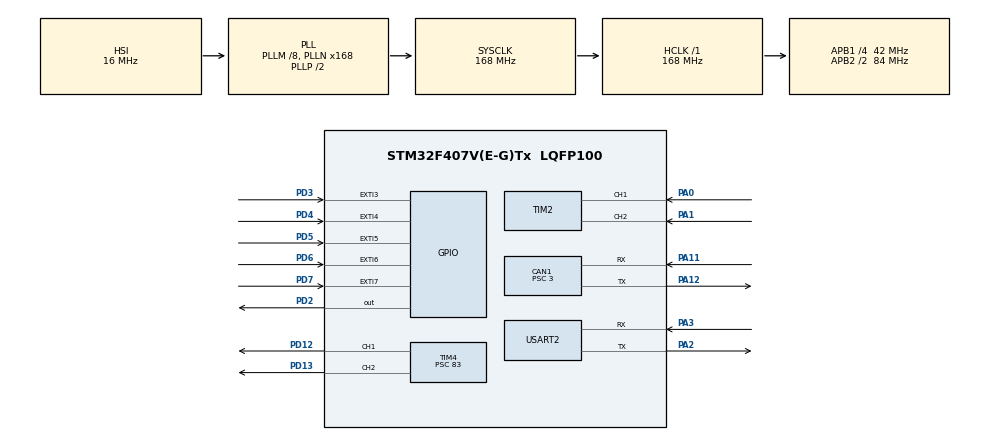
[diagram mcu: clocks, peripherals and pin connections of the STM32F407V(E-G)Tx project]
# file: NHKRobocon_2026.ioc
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CAN1.BS1=CAN_BS1_9TQ
CAN1.BS2=CAN_BS2_4TQ
CAN1.CalculateBaudRate=1000000
CAN1.CalculateTimeBit=1000
CAN1.CalculateTimeQuantum=71.42857142857143
CAN1.Prescaler=3
Mcu.Family=STM32F4
Mcu.Name=STM32F407V(E-G)Tx
Mcu.Package=LQFP100
NVIC.CAN1_RX0_IRQn=true\:2\:0\:true\:false\:true\:true\:true\:true
NVIC.EXTI3_IRQn=true\:0\:0\:true\:false\:true\:true\:true\:true
NVIC.EXTI4_IRQn=true\:0\:0\:true\:false\:true\:true\:true\:true
NVIC.EXTI9_5_IRQn=true\:0\:0\:true\:false\:true\:true\:true\:true
NVIC.PriorityGroup=NVIC_PRIORITYGROUP_4
NVIC.TIM3_IRQn=true\:3\:0\:true\:false\:true\:true\:true\:true
NVIC.USART2_IRQn=true\:1\:0\:true\:false\:true\:true\:true\:true
PA0-WKUP.Signal=S_TIM2_CH1_ETR
PA1.Signal=S_TIM2_CH2
PA11.Mode=CAN_Activate
PA11.Signal=CAN1_RX
PA12.Mode=CAN_Activate
PA12.Signal=CAN1_TX
PA13.Signal=SYS_JTMS-SWDIO
PA14.Signal=SYS_JTCK-SWCLK
PA2.Mode=Asynchronous
PA2.Signal=USART2_TX
PA3.Mode=Asynchronous
PA3.Signal=USART2_RX
PD12.Signal=S_TIM4_CH1
PD13.Signal=S_TIM4_CH2
PD2.Signal=GPIO_Output
PD3.GPIO_ModeDefaultEXTI=GPIO_MODE_IT_FALLING
PD3.GPIO_PuPd=GPIO_PULLUP
PD3.Signal=GPXTI3
PD4.GPIO_ModeDefaultEXTI=GPIO_MODE_IT_RISING
PD4.GPIO_PuPd=GPIO_PULLUP
PD4.Signal=GPXTI4
PD5.GPIO_PuPd=GPIO_PULLUP
PD5.Signal=GPXTI5
PD6.GPIO_PuPd=GPIO_PULLUP
PD6.Signal=GPXTI6
PD7.GPIO_PuPd=GPIO_PULLUP
PD7.Signal=GPXTI7
ProjectManager.HeapSize=0x200
ProjectManager.StackSize=0x400
ProjectManager.TargetToolchain=STM32CubeIDE
RCC.48MHZClocksFreq_Value=84000000
RCC.AHBFreq_Value=168000000
RCC.APB1CLKDivider=RCC_HCLK_DIV4
RCC.APB1Freq_Value=42000000
RCC.APB1TimFreq_Value=84000000
RCC.APB2CLKDivider=RCC_HCLK_DIV2
RCC.APB2Freq_Value=84000000
RCC.APB2TimFreq_Value=168000000
RCC.CortexFreq_Value=168000000
RCC.HCLKFreq_Value=168000000
RCC.HSE_VALUE=25000000
RCC.HSI_VALUE=16000000
RCC.LSE_VALUE=32768
RCC.PLLM=8
RCC.PLLN=168
RCC.SYSCLKFreq_VALUE=168000000
RCC.SYSCLKSource=RCC_SYSCLKSOURCE_PLLCLK
RCC.VCOOutputFreq_Value=336000000
SH.S_TIM2_CH1_ETR.0=TIM2_CH1,Encoder_Interface
SH.S_TIM2_CH2.0=TIM2_CH2,Encoder_Interface
SH.S_TIM4_CH1.0=TIM4_CH1,PWM Generation1 CH1
SH.S_TIM4_CH2.0=TIM4_CH2,PWM Generation2 CH2
TIM2.EncoderMode=TIM_ENCODERMODE_TI12
TIM3.Period=999
TIM3.Prescaler=83
TIM4.Channel-PWM\ Generation1\ CH1=TIM_CHANNEL_1
TIM4.Channel-PWM\ Generation2\ CH2=TIM_CHANNEL_2
TIM4.Period=19999
TIM4.Prescaler=83
USART2.VirtualMode=VM_ASYNC
VP_TIM3_VS_ClockSourceINT.Mode=Internal
board=custom

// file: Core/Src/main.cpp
/* USER CODE BEGIN Header */
/**
  ******************************************************************************
  * @file           : main.c
  * @brief          : Main program body
  ******************************************************************************
  * @attention
  *
  * Copyright (c) 2026 STMicroelectronics.
  * All rights reserved.
  *
  * This software is licensed under terms that can be found in the LICENSE file
  * in the root directory of this software component.
  * If no LICENSE file comes with this software, it is provided AS-IS.
  *
  ******************************************************************************
  */
/* USER CODE END Header */
#include "main.h"

/* USER CODE BEGIN Includes */
#include <m2006manager.h>
#include <m2006.h>
#include <MD4ch_child.h>
#include <MD4ch.h>
#include <PositionPIDController.h>
#include <PositionPIDTuner.h>
#include <SpeedPIDController.h>
#include <SpeedPIDTuner.h>
#include <RotaryEncoder.h>
#include <ESC.h>
#include <Servo.h>
#include <RotaryEncoder.h>

#include <Manager.h>
#include <Steering.h>
#include <Shooter.h>
/* USER CODE END Includes */

CAN_HandleTypeDef hcan1;

TIM_HandleTypeDef htim2;
TIM_HandleTypeDef htim3;
TIM_HandleTypeDef htim4;

UART_HandleTypeDef huart2;

/* USER CODE BEGIN PV */
volatile bool flag = false;
volatile int32_t ms_counter = 0;
uint8_t uartRxbyte = 0;
volatile uint16_t setZeroPin = 0;
m2006_manager* m2006_address;
Manager* maanger_address;
Steering* steering_address;
Shooter* shooter_address;
volatile int32_t intrrupt_count = 0;
/* USER CODE END PV */

void SystemClock_Config(void);
static void MX_GPIO_Init(void);
static void MX_CAN1_Init(void);
static void MX_TIM3_Init(void);
static void MX_TIM4_Init(void);
static void MX_TIM2_Init(void);
static void MX_USART2_UART_Init(void);

/* USER CODE BEGIN 0 */
extern "C" int main(void);
/* USER CODE END 0 */

int main(void)
{

  /* MCU Configuration--------------------------------------------------------*/

  /* Reset of all peripherals, Initializes the Flash interface and the Systick. */
  HAL_Init();

  /* Configure the system clock */
  SystemClock_Config();

  /* Initialize all configured peripherals */
  MX_GPIO_Init();
  MX_CAN1_Init();
  MX_TIM3_Init();
  MX_TIM4_Init();
  MX_TIM2_Init();
  MX_USART2_UART_Init();
  /* USER CODE BEGIN 2 */

  //ステアリング*******************************************************************************
    static std::vector<MD4ch_child*> steer_drives;
    static std::vector<m2006*> m2006s;
    static std::array<UnitSteering*, 4> units;

  	//FL
    static MD4ch_child driveFL;
  	steer_drives.push_back(&driveFL);
  	static m2006 steerFL;
  	m2006s.push_back(&steerFL);
  	static SpeedPIDController str_speedFL(&steerFL, &steerFL);
  	static PositionPIDController str_positionFL(&str_speedFL);
  	static UnitSteering UnitFL(&driveFL, &str_positionFL);
  	units[0] = &UnitFL;
  	//FR
  	static MD4ch_child driveFR;
  	steer_drives.push_back(&driveFR);
  	static m2006 steerFR;
  	m2006s.push_back(&steerFR);
  	static SpeedPIDController str_speedFR(&steerFR, &steerFR);
  	static PositionPIDController str_positionFR(&str_speedFR);
  	static UnitSteering UnitFR(&driveFR, &str_positionFR);
  	units[1] = &UnitFR;
  	//BL
  	static MD4ch_child driveBL;
  	steer_drives.push_back(&driveBL);
  	static m2006 steerBL;
  	m2006s.push_back(&steerBL);
  	static SpeedPIDController str_speedBL(&steerBL, &steerBL);
  	static PositionPIDController str_positionBL(&str_speedBL);
  	static UnitSteering UnitBL(&driveBL, &str_positionBL);
  	units[2] = &UnitBL;
  	//BR
  	static MD4ch_child driveBR;
  	steer_drives.push_back(&driveBR);
  	static m2006 steerBR;
  	m2006s.push_back(&steerBR);
  	static SpeedPIDController str_speedBR(&steerBR, &steerBR);
  	static PositionPIDController str_positionBR(&str_speedBR);
  	static UnitSteering UnitBR(&driveBR, &str_positionBR);
  	units[3] = &UnitBR;

  	static std::array<uint16_t, 4> interrupts = { GPIO_PIN_4, GPIO_PIN_5, GPIO_PIN_6, GPIO_PIN_7 };
  	static Steering steering(&units, &interrupts);
  	steering.init();
  	steering_address = &steering;
  //ステアリング終了*******************************************************************************

  //射出**************************************************************************************
  	static MD4ch_child ShooterMotor735;
  	static MD4ch_child ShooterMotor385;
  	static MD4ch_child dummy1;
  	static MD4ch_child flagMotor;
  	dummy1.setMode(Mode::STOP);
  	flagMotor.setMode(Mode::OPENLOOP);
  	static Servo ShooterServo(&htim4, TIM_CHANNEL_2);
  	GPIOPIN led = {
  			.port = GPIOD,
			.pin = GPIO_PIN_2
  	};
  	static Shooter shooter(&ShooterMotor735, &ShooterMotor385, &ShooterServo, &steering, led);
  	shooter_address = &shooter;
  	shooter.init();
  //射出終了***********************************************************************************

  //装填**************************************************************************************
  	static Loader loader; //まだ不適切
  //装填終了***********************************************************************************

  //オドメトリ************************************************************************************
  	static Odometry odometry(nullptr, nullptr); //今は使わない、使うときはRotaryEncoderを入れよう
  //オドメトリ終了*********************************************************************************

  //マネージャー**********************************************************************************
  	static Manager manager(nullptr, nullptr, &shooter, &steering, &huart2);
  	maanger_address = &manager;
  //マネージャー終了*******************************************************************************

  //送信関連***********************************************************************************
  	std::vector<MD4ch_child*> motors2 = { &ShooterMotor735, &ShooterMotor385, &flagMotor, &dummy1 };
  	static m2006_manager m2006manager(&m2006s, &hcan1);
  	m2006_address = &m2006manager;
  	static MD_4ch MD4ch1(&hcan1, &steer_drives, 0x302);
  	static MD_4ch MD4ch2(&hcan1, &motors2, 0x301);
  //送信関連終了********************************************************************************

  flagMotor.setOut(20);

  //CAN設定、フィルター
  CAN_FilterTypeDef filter;
  filter.FilterIdHigh         = 0;
  filter.FilterIdLow          = 0;
  filter.FilterMaskIdHigh     = 0;
  filter.FilterMaskIdLow      = 0;
  filter.FilterFIFOAssignment = CAN_FILTER_FIFO0;
  filter.FilterBank           = 0;
  filter.FilterMode           = CAN_FILTERMODE_IDMASK;
  filter.FilterScale          = CAN_FILTERSCALE_32BIT;
  filter.FilterActivation     = CAN_FILTER_ENABLE;
  HAL_CAN_ConfigFilter(&hcan1, &filter);

  HAL_CAN_Start(&hcan1); //CANスタート
  HAL_CAN_ActivateNotification(&hcan1, CAN_IT_RX_FIFO0_MSG_PENDING); //CAN割り込み有効化
  //ESC及びサーボをデバッグで回す際、割り込みは無効に
  HAL_TIM_Base_Start_IT(&htim3); //タイマー割り込み有効化
  HAL_UART_Receive_IT(&huart2, &uartRxbyte, 1); //UARTの割り込み
  /* USER CODE END 2 */

  /* Infinite loop */
  while (1)
  {

    /* USER CODE BEGIN 3 */
	  if (flag){
		  if (ms_counter % 5 == 0) {
		 	  steering.updateSpeed();
		 	  MD4ch1.send();
		 	  MD4ch2.send();
		  }
		  if (ms_counter % 10 == 0) {
			  steering.updatePosition();
		  }
		  if (ms_counter % 99 == 0) {
			  ProcessStatus status = steering.setZeroupdate();
			  if (status == ProcessStatus::FAILED) {
				  manager.sendSetzero(false);
			  }
		  }
		  if (ms_counter % 100 == 0) {
			  manager.sendSteeringAngle();
		  }
		  m2006manager.sendtoCAN();
		  flag = false;
	  }
  }
  /* USER CODE END 3 */
}

void SystemClock_Config(void)
{
  RCC_OscInitTypeDef RCC_OscInitStruct = {0};
  RCC_ClkInitTypeDef RCC_ClkInitStruct = {0};

  /** Configure the main internal regulator output voltage
  */
  __HAL_RCC_PWR_CLK_ENABLE();
  __HAL_PWR_VOLTAGESCALING_CONFIG(PWR_REGULATOR_VOLTAGE_SCALE1);

  /** Initializes the RCC Oscillators according to the specified parameters
  * in the RCC_OscInitTypeDef structure.
  */
  RCC_OscInitStruct.OscillatorType = RCC_OSCILLATORTYPE_HSI;
  RCC_OscInitStruct.HSIState = RCC_HSI_ON;
  RCC_OscInitStruct.HSICalibrationValue = RCC_HSICALIBRATION_DEFAULT;
  RCC_OscInitStruct.PLL.PLLState = RCC_PLL_ON;
  RCC_OscInitStruct.PLL.PLLSource = RCC_PLLSOURCE_HSI;
  RCC_OscInitStruct.PLL.PLLM = 8;
  RCC_OscInitStruct.PLL.PLLN = 168;
  RCC_OscInitStruct.PLL.PLLP = RCC_PLLP_DIV2;
  RCC_OscInitStruct.PLL.PLLQ = 4;
  if (HAL_RCC_OscConfig(&RCC_OscInitStruct) != HAL_OK)
  {
    Error_Handler();
  }

  /** Initializes the CPU, AHB and APB buses clocks
  */
  RCC_ClkInitStruct.ClockType = RCC_CLOCKTYPE_HCLK|RCC_CLOCKTYPE_SYSCLK
                              |RCC_CLOCKTYPE_PCLK1|RCC_CLOCKTYPE_PCLK2;
  RCC_ClkInitStruct.SYSCLKSource = RCC_SYSCLKSOURCE_PLLCLK;
  RCC_ClkInitStruct.AHBCLKDivider = RCC_SYSCLK_DIV1;
  RCC_ClkInitStruct.APB1CLKDivider = RCC_HCLK_DIV4;
  RCC_ClkInitStruct.APB2CLKDivider = RCC_HCLK_DIV2;

  if (HAL_RCC_ClockConfig(&RCC_ClkInitStruct, FLASH_LATENCY_5) != HAL_OK)
  {
    Error_Handler();
  }
}

static void MX_CAN1_Init(void)
{

  hcan1.Instance = CAN1;
  hcan1.Init.Prescaler = 3;
  hcan1.Init.Mode = CAN_MODE_NORMAL;
  hcan1.Init.SyncJumpWidth = CAN_SJW_1TQ;
  hcan1.Init.TimeSeg1 = CAN_BS1_9TQ;
  hcan1.Init.TimeSeg2 = CAN_BS2_4TQ;
  hcan1.Init.TimeTriggeredMode = DISABLE;
  hcan1.Init.AutoBusOff = DISABLE;
  hcan1.Init.AutoWakeUp = DISABLE;
  hcan1.Init.AutoRetransmission = DISABLE;
  hcan1.Init.ReceiveFifoLocked = DISABLE;
  hcan1.Init.TransmitFifoPriority = DISABLE;
  if (HAL_CAN_Init(&hcan1) != HAL_OK)
  {
    Error_Handler();
  }

}

static void MX_TIM2_Init(void)
{

  TIM_Encoder_InitTypeDef sConfig = {0};
  TIM_MasterConfigTypeDef sMasterConfig = {0};

  htim2.Instance = TIM2;
  htim2.Init.Prescaler = 0;
  htim2.Init.CounterMode = TIM_COUNTERMODE_UP;
  htim2.Init.Period = 4294967295;
  htim2.Init.ClockDivision = TIM_CLOCKDIVISION_DIV1;
  htim2.Init.AutoReloadPreload = TIM_AUTORELOAD_PRELOAD_DISABLE;
  sConfig.EncoderMode = TIM_ENCODERMODE_TI12;
  sConfig.IC1Polarity = TIM_ICPOLARITY_RISING;
  sConfig.IC1Selection = TIM_ICSELECTION_DIRECTTI;
  sConfig.IC1Prescaler = TIM_ICPSC_DIV1;
  sConfig.IC1Filter = 0;
  sConfig.IC2Polarity = TIM_ICPOLARITY_RISING;
  sConfig.IC2Selection = TIM_ICSELECTION_DIRECTTI;
  sConfig.IC2Prescaler = TIM_ICPSC_DIV1;
  sConfig.IC2Filter = 0;
  if (HAL_TIM_Encoder_Init(&htim2, &sConfig) != HAL_OK)
  {
    Error_Handler();
  }
  sMasterConfig.MasterOutputTrigger = TIM_TRGO_RESET;
  sMasterConfig.MasterSlaveMode = TIM_MASTERSLAVEMODE_DISABLE;
  if (HAL_TIMEx_MasterConfigSynchronization(&htim2, &sMasterConfig) != HAL_OK)
  {
    Error_Handler();
  }

}

static void MX_TIM3_Init(void)
{

  TIM_ClockConfigTypeDef sClockSourceConfig = {0};
  TIM_MasterConfigTypeDef sMasterConfig = {0};

  htim3.Instance = TIM3;
  htim3.Init.Prescaler = 83;
  htim3.Init.CounterMode = TIM_COUNTERMODE_UP;
  htim3.Init.Period = 999;
  htim3.Init.ClockDivision = TIM_CLOCKDIVISION_DIV1;
  htim3.Init.AutoReloadPreload = TIM_AUTORELOAD_PRELOAD_DISABLE;
  if (HAL_TIM_Base_Init(&htim3) != HAL_OK)
  {
    Error_Handler();
  }
  sClockSourceConfig.ClockSource = TIM_CLOCKSOURCE_INTERNAL;
  if (HAL_TIM_ConfigClockSource(&htim3, &sClockSourceConfig) != HAL_OK)
  {
    Error_Handler();
  }
  sMasterConfig.MasterOutputTrigger = TIM_TRGO_RESET;
  sMasterConfig.MasterSlaveMode = TIM_MASTERSLAVEMODE_DISABLE;
  if (HAL_TIMEx_MasterConfigSynchronization(&htim3, &sMasterConfig) != HAL_OK)
  {
    Error_Handler();
  }

}

static void MX_TIM4_Init(void)
{

  TIM_MasterConfigTypeDef sMasterConfig = {0};
  TIM_OC_InitTypeDef sConfigOC = {0};

  htim4.Instance = TIM4;
  htim4.Init.Prescaler = 83;
  htim4.Init.CounterMode = TIM_COUNTERMODE_UP;
  htim4.Init.Period = 19999;
  htim4.Init.ClockDivision = TIM_CLOCKDIVISION_DIV1;
  htim4.Init.AutoReloadPreload = TIM_AUTORELOAD_PRELOAD_DISABLE;
  if (HAL_TIM_PWM_Init(&htim4) != HAL_OK)
  {
    Error_Handler();
  }
  sMasterConfig.MasterOutputTrigger = TIM_TRGO_RESET;
  sMasterConfig.MasterSlaveMode = TIM_MASTERSLAVEMODE_DISABLE;
  if (HAL_TIMEx_MasterConfigSynchronization(&htim4, &sMasterConfig) != HAL_OK)
  {
    Error_Handler();
  }
  sConfigOC.OCMode = TIM_OCMODE_PWM1;
  sConfigOC.Pulse = 0;
  sConfigOC.OCPolarity = TIM_OCPOLARITY_HIGH;
  sConfigOC.OCFastMode = TIM_OCFAST_DISABLE;
  if (HAL_TIM_PWM_ConfigChannel(&htim4, &sConfigOC, TIM_CHANNEL_1) != HAL_OK)
  {
    Error_Handler();
  }
  if (HAL_TIM_PWM_ConfigChannel(&htim4, &sConfigOC, TIM_CHANNEL_2) != HAL_OK)
  {
    Error_Handler();
  }
  HAL_TIM_MspPostInit(&htim4);

}

static void MX_USART2_UART_Init(void)
{

  huart2.Instance = USART2;
  huart2.Init.BaudRate = 115200;
  huart2.Init.WordLength = UART_WORDLENGTH_8B;
  huart2.Init.StopBits = UART_STOPBITS_1;
  huart2.Init.Parity = UART_PARITY_NONE;
  huart2.Init.Mode = UART_MODE_TX_RX;
  huart2.Init.HwFlowCtl = UART_HWCONTROL_NONE;
  huart2.Init.OverSampling = UART_OVERSAMPLING_16;
  if (HAL_UART_Init(&huart2) != HAL_OK)
  {
    Error_Handler();
  }

}

static void MX_GPIO_Init(void)
{
  GPIO_InitTypeDef GPIO_InitStruct = {0};

  /* GPIO Ports Clock Enable */
  __HAL_RCC_GPIOA_CLK_ENABLE();
  __HAL_RCC_GPIOD_CLK_ENABLE();

  /*Configure GPIO pin Output Level */
  HAL_GPIO_WritePin(GPIOD, GPIO_PIN_2, GPIO_PIN_RESET);

  /*Configure GPIO pin : PD2 */
  GPIO_InitStruct.Pin = GPIO_PIN_2;
  GPIO_InitStruct.Mode = GPIO_MODE_OUTPUT_PP;
  GPIO_InitStruct.Pull = GPIO_NOPULL;
  GPIO_InitStruct.Speed = GPIO_SPEED_FREQ_LOW;
  HAL_GPIO_Init(GPIOD, &GPIO_InitStruct);

  /*Configure GPIO pin : PD3 */
  GPIO_InitStruct.Pin = GPIO_PIN_3;
  GPIO_InitStruct.Mode = GPIO_MODE_IT_FALLING;
  GPIO_InitStruct.Pull = GPIO_PULLUP;
  HAL_GPIO_Init(GPIOD, &GPIO_InitStruct);

  /*Configure GPIO pins : PD4 PD5 PD6 PD7 */
  GPIO_InitStruct.Pin = GPIO_PIN_4|GPIO_PIN_5|GPIO_PIN_6|GPIO_PIN_7;
  GPIO_InitStruct.Mode = GPIO_MODE_IT_RISING;
  GPIO_InitStruct.Pull = GPIO_PULLUP;
  HAL_GPIO_Init(GPIOD, &GPIO_InitStruct);

  /* EXTI interrupt init*/
  HAL_NVIC_SetPriority(EXTI3_IRQn, 0, 0);
  HAL_NVIC_EnableIRQ(EXTI3_IRQn);

  HAL_NVIC_SetPriority(EXTI4_IRQn, 0, 0);
  HAL_NVIC_EnableIRQ(EXTI4_IRQn);

  HAL_NVIC_SetPriority(EXTI9_5_IRQn, 0, 0);
  HAL_NVIC_EnableIRQ(EXTI9_5_IRQn);

}

/* USER CODE BEGIN 4 */
extern "C" void HAL_TIM_PeriodElapsedCallback(TIM_HandleTypeDef *htim)
{
    if (htim == &htim3)
    {
    	ms_counter++;
    	flag = true; //flag立ち上げ
    }
}

extern "C" void HAL_CAN_RxFifo0MsgPendingCallback(CAN_HandleTypeDef *hcan) {
	CAN_RxHeaderTypeDef rxHeader;
	uint8_t rxData[8];

	if (HAL_CAN_GetRxMessage(hcan, CAN_RX_FIFO0, &rxHeader, rxData) == HAL_OK){
		if (rxHeader.StdId >= 0x201 && rxHeader.StdId <= 0x208) {
			if (m2006_address == nullptr) return;
			m2006_address->updatefromCAN(rxData, rxHeader.StdId);
		}
	}
}

extern "C" void HAL_GPIO_EXTI_Callback(uint16_t GPIO_Pin) {
	if (GPIO_Pin >= GPIO_PIN_4 && GPIO_Pin <= GPIO_PIN_7) {
		if (steering_address == nullptr || maanger_address == nullptr) return;
		ProcessStatus status = steering_address->interruptsetZero(GPIO_Pin);
		if (status == ProcessStatus::FAILED) {
			maanger_address->sendSetzero(false);
		} else if (status == ProcessStatus::SUCCESS) {
			maanger_address->sendSetzero(true);
		}
	} else if (GPIO_Pin == GPIO_PIN_3) {
		if (shooter_address == nullptr) return;
		shooter_address->Interrupt();
		intrrupt_count++;
	}
}

extern "C" void HAL_UART_RxCpltCallback(UART_HandleTypeDef *huart) {
	if (huart->Instance == USART2) {
		if (maanger_address != nullptr){
			maanger_address->updatefromUART(uartRxbyte);
		}

		HAL_UART_Receive_IT(&huart2, &uartRxbyte, 1);
	}
}

extern "C" void HAL_UART_ErrorCallback(UART_HandleTypeDef *huart) {
    if (huart->Instance == USART2) {
        __HAL_UART_CLEAR_OREFLAG(huart);
        HAL_UART_Receive_IT(huart, &uartRxbyte, 1);
    }
}

/* USER CODE END 4 */

void Error_Handler(void)
{
  __disable_irq();
  while (1)
  {
  }
}
